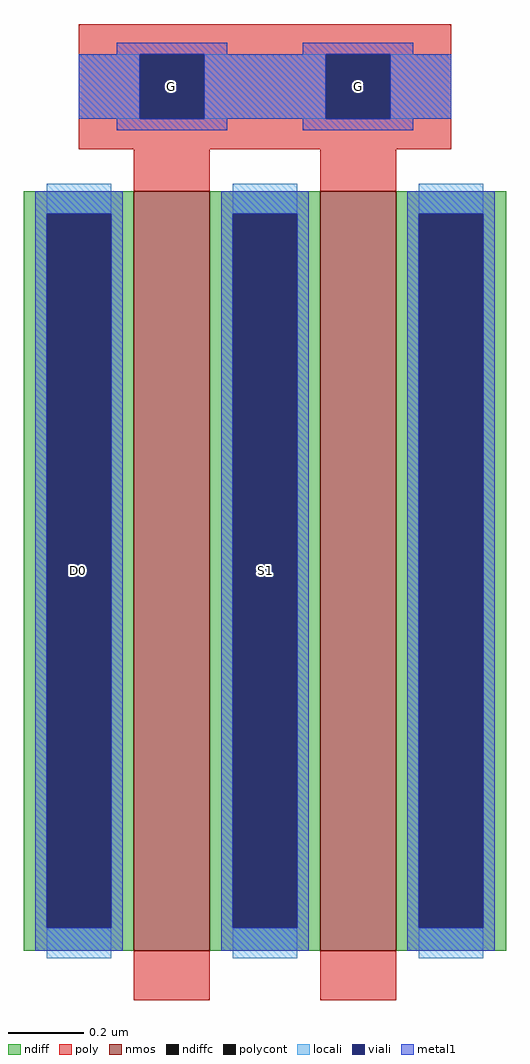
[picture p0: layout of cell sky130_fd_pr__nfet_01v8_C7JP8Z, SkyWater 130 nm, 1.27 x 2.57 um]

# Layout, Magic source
magic
tech sky130A
magscale 1 2
<< nmos >>
rect -69 -231 -29 169
rect 29 -231 69 169
<< ndiff >>
rect -127 157 -69 169
rect -127 -219 -115 157
rect -81 -219 -69 157
rect -127 -231 -69 -219
rect -29 157 29 169
rect -29 -219 -17 157
rect 17 -219 29 157
rect -29 -231 29 -219
rect 69 157 127 169
rect 69 -219 81 157
rect 115 -219 127 157
rect 69 -231 127 -219
<< ndiffc >>
rect -115 -219 -81 157
rect -17 -219 17 157
rect 81 -219 115 157
<< poly >>
rect -98 241 98 257
rect -98 207 -66 241
rect -32 207 32 241
rect 66 207 98 241
rect -98 191 98 207
rect -69 169 -29 191
rect 29 169 69 191
rect -69 -257 -29 -231
rect 29 -257 69 -231
<< polycont >>
rect -66 207 -32 241
rect 32 207 66 241
<< locali >>
rect -98 207 -66 241
rect -32 207 32 241
rect 66 207 98 241
rect -115 157 -81 173
rect -115 -235 -81 -219
rect -17 157 17 173
rect -17 -235 17 -219
rect 81 157 115 173
rect 81 -235 115 -219
<< viali >>
rect -66 207 -32 241
rect 32 207 66 241
rect -115 -219 -81 157
rect -17 -219 17 157
rect 81 -219 115 157
<< metal1 >>
rect -78 241 -20 247
rect 20 241 78 247
rect -98 207 -66 241
rect -32 207 32 241
rect 66 207 98 241
rect -78 201 -20 207
rect 20 201 78 207
rect -121 157 -75 169
rect -121 -219 -115 157
rect -81 -219 -75 157
rect -121 -231 -75 -219
rect -23 157 23 169
rect -23 -219 -17 157
rect 17 -219 23 157
rect -23 -231 23 -219
rect 75 157 121 169
rect 75 -219 81 157
rect 115 -219 121 157
rect 75 -231 121 -219
<< labels >>
rlabel ndiffc -98 -31 -98 -31 0 D0
port 1 nsew
rlabel polycont -49 224 -49 224 0 G
port 2 nsew
rlabel ndiffc 0 -31 0 -31 0 S1
port 3 nsew
rlabel polycont 49 224 49 224 0 G
port 2 nsew
<< properties >>
string gencell sky130_fd_pr__nfet_01v8
string library sky130
string parameters w 2 l 0.2 m 1 nf 2 diffcov 100 polycov 100 guard 0 glc 1 grc 1 gtc 1 gbc 1 tbcov 100 rlcov 100 topc 1 botc 0 poverlap 0 doverlap 1 lmin 0.15 wmin 0.42 class mosfet compatible {sky130_fd_pr__nfet_01v8 sky130_fd_pr__nfet_01v8_lvt  sky130_fd_bs_flash__special_sonosfet_star  sky130_fd_pr__nfet_g5v0d10v5 sky130_fd_pr__nfet_05v0_nvt  sky130_fd_pr__nfet_03v3_nvt} full_metal 0 conn_gates 1 viasrc 100 viadrn 100 viagate 100 viagb 0 viagr 0 viagl 0 viagt 0 doports 1
<< end >>
